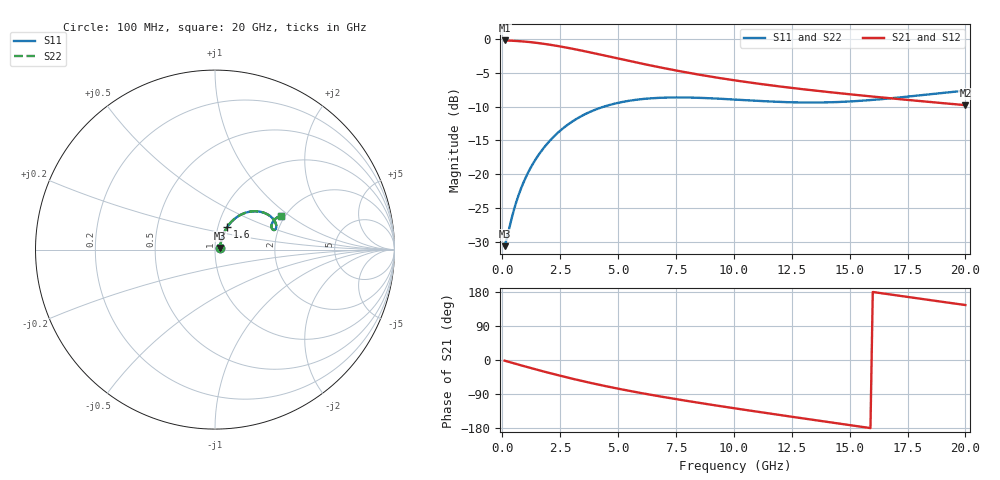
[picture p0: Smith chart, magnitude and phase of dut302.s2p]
! Touchstone file exported from HFSS 2024.1.0
!  File:  C:/UserFiles/LocalFiles/RDL_TSV_Batchsim/temp_RDL_TSV_302_1779625040.aedt
!  Generated:  08:37:37 PM May 24, 2026
!  Design:  RDL_TSV
!  Project:  temp_RDL_TSV_302_1779625040
!  Setup:  Setup1
!  Solution:  Sweep
! Variables:
!  dtsv = 5.18um
!  hbump = 3um
!  htsv = 98.82um
!  ldown = 174.4um
!  lrdl = 578.63um
!  p = 40
!  p1 = 48.7um
!  rhole = 10um
!  subl = 2837.72um
!  t = 450um
!  tdown = 4.91um
!  trdl = 2.54um
!  viad = 10um
!  wdown = 14.14um
!  wrdl = 13.74um
!  xbump = 18um
# GHz S MA R 50.000000
! Terminal data exported
! Port[1] = TM1_1_T1
! Port[2] = TM1_4_T1
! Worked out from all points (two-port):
!   200 points, 100 MHz to 20 GHz, reference 50 ohm
!   highest |S21| = -0.25 dB at 100 MHz (marker M1); lowest = -9.8 dB at 20 GHz (marker M2)
!   |S21| within 3 dB of the highest: start of sweep to 5.452 GHz
!   lowest |S11| = -30.6 dB at 100 MHz (marker M3), VSWR 1.06, Z = 52.9 + j0.946 ohm
!   |S11| at or under -10 dB: start of sweep to 4.406 GHz
!   |S22| runs from -30.6 to -7.7 dB; largest |S21 - S12| = 1.3e-14
!   S11 on the Smith chart (normalised r, x): 100 MHz: 1.06, +0.02; 1.6 GHz: 1.11, +0.28; 20 GHz: 1.91, +0.87
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0.1  0.02943 17.7  0.9719 -1.8  0.9719 -1.8  0.02943 17.7
! Gamma 0 0 0 0
! Port Impedance 50 0 50 0
0.5  0.05438 52.3  0.9662 -8.8  0.9662 -8.8  0.05438 52.3
0.8  0.07774 59.1  0.9586 -13.9  0.9586 -13.9  0.07774 59.1
1.2  0.1096 61.8  0.945 -20.7  0.945 -20.7  0.1096 61.8
1.6  0.1415 61.6  0.9276 -27.3  0.9276 -27.3  0.1415 61.6
2  0.1727 60.0  0.9071 -33.7  0.9071 -33.7  0.1727 60.0
2.5  0.2097 56.9  0.8779 -41.5  0.8779 -41.5  0.2097 56.9
3  0.2435 53.3  0.8462 -49.0  0.8462 -49.0  0.2435 53.3
3.5  0.2734 49.4  0.8131 -56.1  0.8131 -56.1  0.2733 49.4
4.2  0.3078 44.0  0.7666 -65.6  0.7666 -65.6  0.3077 44.0
4.9  0.3335 38.8  0.7216 -74.4  0.7216 -74.4  0.3334 38.9
5.8  0.355 33.0  0.6681 -85.0  0.6681 -85.0  0.3549 33.0
6.8  0.3666 27.6  0.6157 -95.9  0.6157 -95.9  0.3665 27.6
7.6  0.3689 24.2  0.5792 -104.2  0.5792 -104.2  0.3689 24.2
8.4  0.367 21.6  0.5471 -112.1  0.5471 -112.1  0.367 21.6
10.1  0.3554 18.6  0.4915 -128.1  0.4915 -128.1  0.3554 18.6
11.7  0.3435 18.6  0.4509 -142.6  0.4509 -142.6  0.3435 18.6
13.4  0.3383 20.7  0.4164 -157.7  0.4164 -157.7  0.3383 20.7
15  0.3444 23.6  0.3893 -171.8  0.3893 -171.8  0.3444 23.6
16.7  0.3625 26.1  0.3644 173.4  0.3644 173.4  0.3625 26.2
18.4  0.3882 27.3  0.3423 158.7  0.3423 158.7  0.3882 27.3
20  0.4142 27.0  0.3237 145.1  0.3237 145.1  0.4142 27.1
